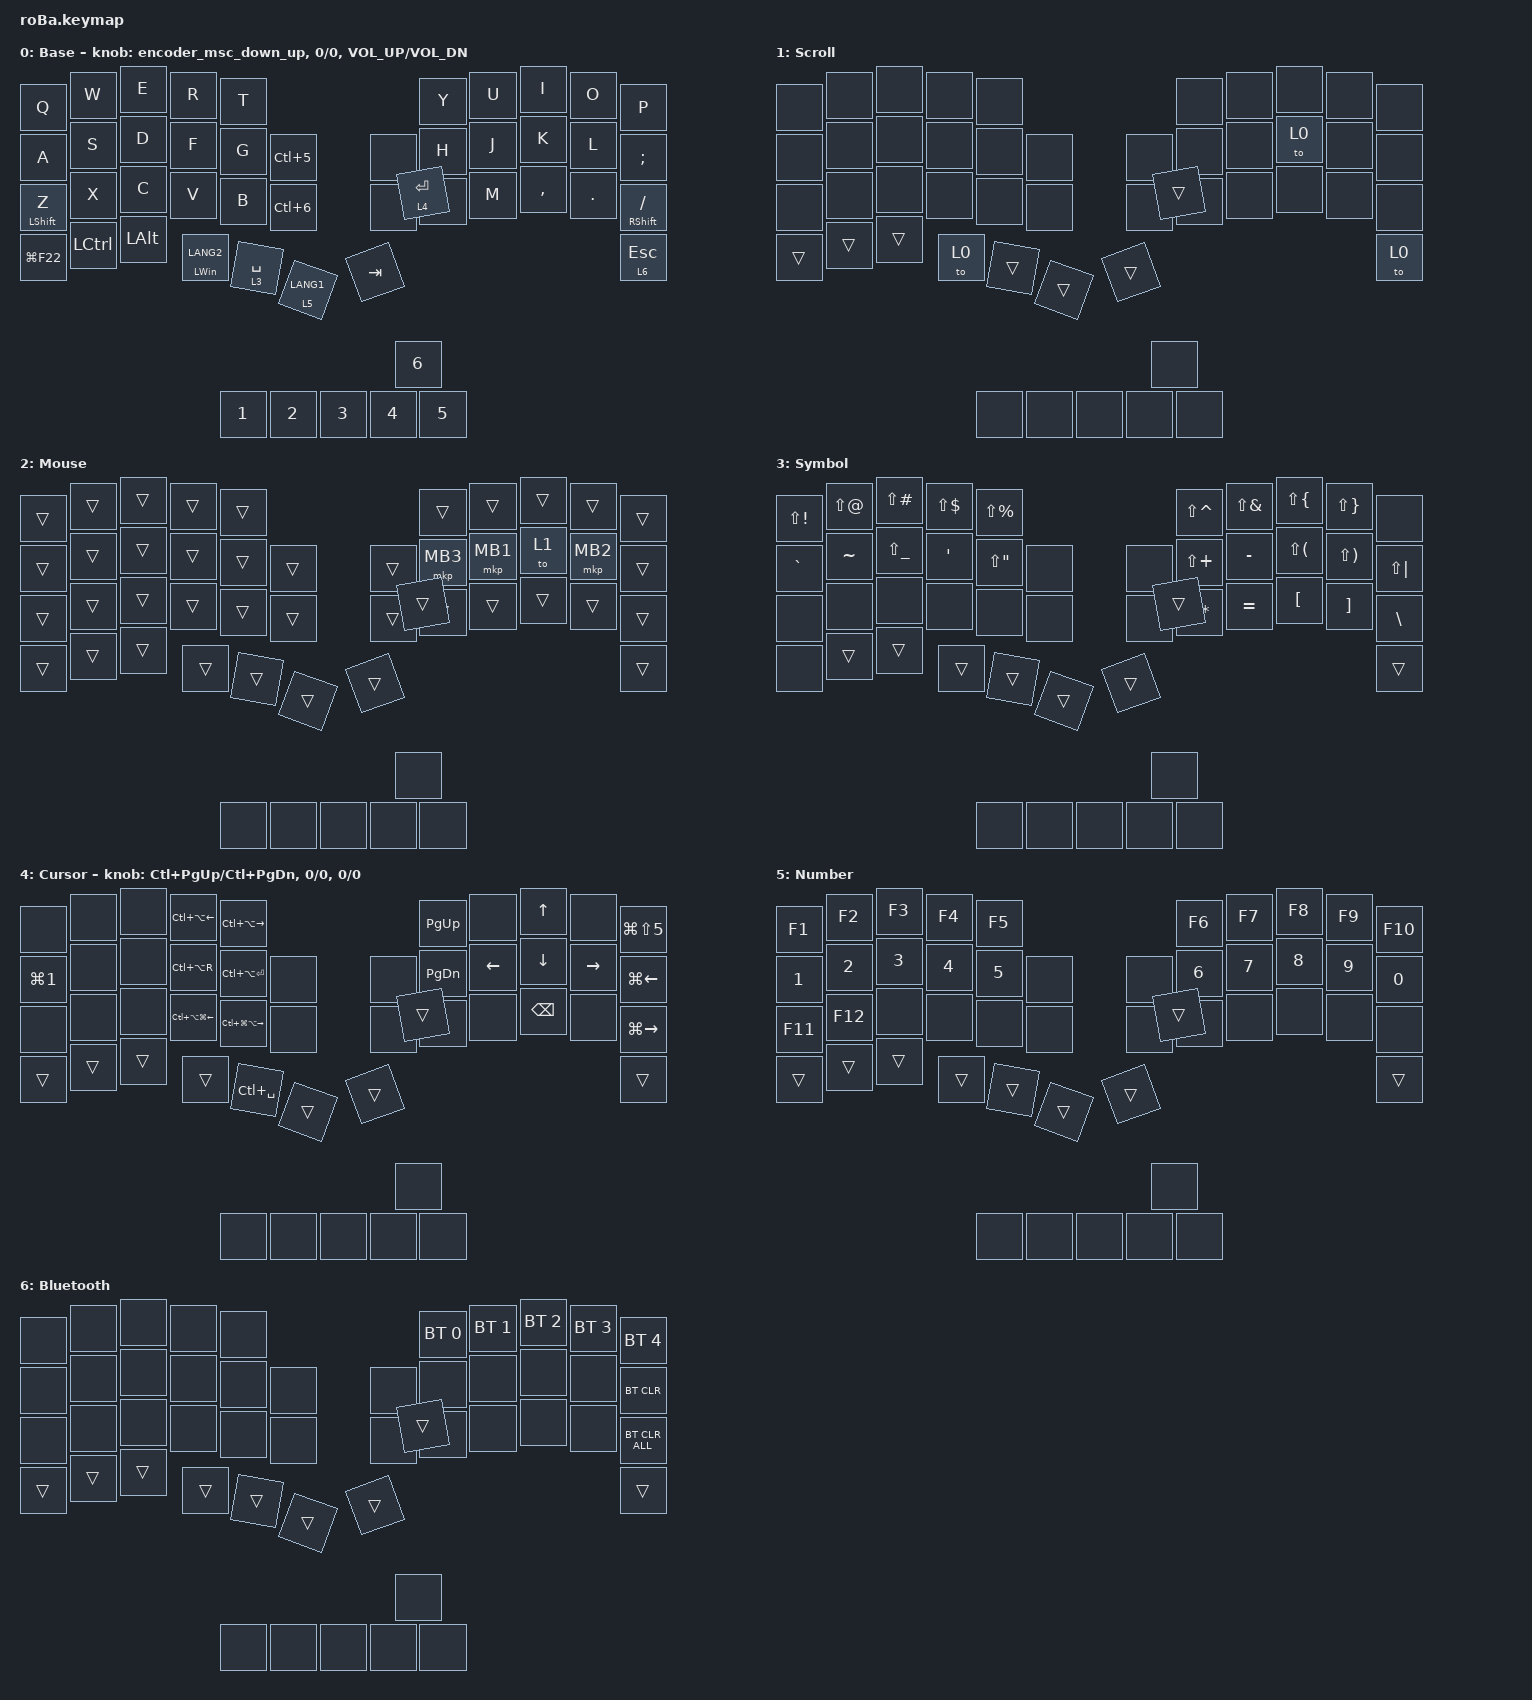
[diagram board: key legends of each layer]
#include <behaviors.dtsi>
#include <dt-bindings/zmk/bt.h>
#include <dt-bindings/zmk/keys.h>
#include <dt-bindings/zmk/pointing.h>

#define ZMK_POINTING_DEFAULT_SCRL_VAL 40

&mt {
    flavor = "balanced";
    quick-tap-ms = <0>;
};

&trackball {
};

/ {
    combos { compatible = "zmk,combos"; };

    macros {
        to_layer_0: to_layer_0 {
            compatible = "zmk,behavior-macro-one-param";
            #binding-cells = <1>;
            bindings = <&to 0 &macro_param_1to1 &kp MACRO_PLACEHOLDER>;
            label = "TO_LAYER_0";
        };
    };
    
    behaviors {
        lt_to_layer_0: lt_to_layer_0 {
            compatible = "zmk,behavior-hold-tap";
            label = "LAYER_TAP_TO_0";
            bindings = <&mo>, <&to_layer_0>;

            #binding-cells = <2>;
            tapping-term-ms = <200>;
        };

        encoder_msc_down_up: encoder_msc_down_up {
            compatible = "zmk,behavior-sensor-rotate";
            label = "ENCODER_MSC_DOWN_UP";
            #sensor-binding-cells = <0>;
            bindings = <&msc SCRL_DOWN>, <&msc SCRL_UP>;

            tap-ms = <20>;
        };
    };

    keymap {
        compatible = "zmk,keymap";

        default_layer {
            display-name = "Base";
            bindings = <
&kp Q             &kp W      &kp E         &kp R               &kp T                                  &kp Y        &kp U  &kp I      &kp O    &kp P
&kp A             &kp S      &kp D         &kp F               &kp G        &kp LC(N5)       &none    &kp H        &kp J  &kp K      &kp L    &kp SEMICOLON
&mt LEFT_SHIFT Z  &kp X      &kp C         &kp V               &kp B        &kp LC(N6)       &none    &kp N        &kp M  &kp COMMA  &kp DOT  &mt RIGHT_SHIFT SLASH
&kp LG(F22)       &kp LCTRL  &kp LEFT_ALT  &mt LEFT_WIN LANG2  &lt 3 SPACE  &lt 5 LANG1      &kp TAB  &lt 4 ENTER                             &lt 6 ESCAPE
&kp N1  &kp N2  &kp N3  &kp N4  &kp N5  &kp N6
            >;

            sensor-bindings = <&encoder_msc_down_up>, <&inc_dec_kp 0 0>, <&inc_dec_kp C_VOL_UP C_VOL_DN>;
        };

        SCROLL {
            display-name = "Scroll";
            bindings = <
&none   &none   &none   &none  &none                       &none   &none  &none  &none  &none
&none   &none   &none   &none  &none   &none       &none   &none   &none  &to 0  &none  &none
&none   &none   &none   &none  &none   &none       &none   &none   &none  &none  &none  &none
&trans  &trans  &trans  &to 0  &trans  &trans      &trans  &trans                       &to 0
&none  &none  &none  &none  &none  &none
            >;
        };

        MOUSE {
            display-name = "Mouse";
            bindings = <
&trans  &trans  &trans  &trans  &trans                      &trans    &trans    &trans  &trans    &trans
&trans  &trans  &trans  &trans  &trans  &trans      &trans  &mkp MB3  &mkp MB1  &to 1   &mkp MB2  &trans
&trans  &trans  &trans  &trans  &trans  &trans      &trans  &trans    &trans    &trans  &trans    &trans
&trans  &trans  &trans  &trans  &trans  &trans      &trans  &trans                                &trans
&none  &none  &none  &none  &none  &none
            >;
        };

        SYMBOL {
            display-name = "Symbol";
            bindings = <
&kp LS(EXCL)  &kp LS(AT)  &kp LS(POUND)  &kp LS(DLLR)  &kp LS(PRCNT)                      &kp LS(CARET)  &kp LS(AMPS)  &kp LS(LBRC)  &kp LS(RBRC)  &none
&kp GRAVE     &kp TILDE   &kp LS(UNDER)  &kp SQT       &kp LS(DQT)    &none       &none   &kp LS(PLUS)   &kp MINUS     &kp LS(LPAR)  &kp LS(RPAR)  &kp LS(PIPE)
&none         &none       &none          &none         &none          &none       &none   &kp LS(STAR)   &kp EQUAL     &kp LBKT      &kp RBKT      &kp BSLH
&none         &trans      &trans         &trans        &trans         &trans      &trans  &trans                                                   &trans
&none  &none  &none  &none  &none  &none
            >;
        };

        CURSOR {
            display-name = "Cursor";
            bindings = <
&none             &none   &none   &kp LC(LA(LEFT))      &kp LC(LA(RIGHT))                          &kp PG_UP  &none     &kp UP    &none      &kp LG(LS(N5))
&kp LG(NUMBER_1)  &none   &none   &kp LC(LA(R))         &kp LC(LA(RET))        &none       &none   &kp PG_DN  &kp LEFT  &kp DOWN  &kp RIGHT  &kp LG(LEFT)
&none             &none   &none   &kp LC(LA(LG(LEFT)))  &kp LC(LG(LA(RIGHT)))  &none       &none   &none      &none     &kp BSPC  &none      &kp LG(RIGHT)
&trans            &trans  &trans  &trans                &kp LC(SPACE)          &trans      &trans  &trans                                    &trans
&none  &none  &none  &none  &none  &none
            >;

            sensor-bindings = <&inc_dec_kp LC(PAGE_UP) LC(PAGE_DOWN)>, <&inc_dec_kp 0 0>, <&inc_dec_kp 0 0>;
        };

        NUMBER {
            display-name = "Number";
            bindings = <
&kp F1   &kp F2   &kp F3  &kp F4  &kp F5                      &kp F6  &kp F7  &kp F8  &kp F9  &kp F10
&kp N1   &kp N2   &kp N3  &kp N4  &kp N5  &none       &none   &kp N6  &kp N7  &kp N8  &kp N9  &kp N0
&kp F11  &kp F12  &none   &none   &none   &none       &none   &none   &none   &none   &none   &none
&trans   &trans   &trans  &trans  &trans  &trans      &trans  &trans                          &trans
&none  &none  &none  &none  &none  &none
            >;
        };

        BLUETOOTH {
            display-name = "Bluetooth";
            bindings = <
&none   &none   &none   &none   &none                       &bt BT_SEL 0  &bt BT_SEL 1  &bt BT_SEL 2  &bt BT_SEL 3  &bt BT_SEL 4
&none   &none   &none   &none   &none   &none       &none   &none         &none         &none         &none         &bt BT_CLR
&none   &none   &none   &none   &none   &none       &none   &none         &none         &none         &none         &bt BT_CLR_ALL
&trans  &trans  &trans  &trans  &trans  &trans      &trans  &trans                                                  &trans
&none  &none  &none  &none  &none  &none
            >;
        };
    };
};
